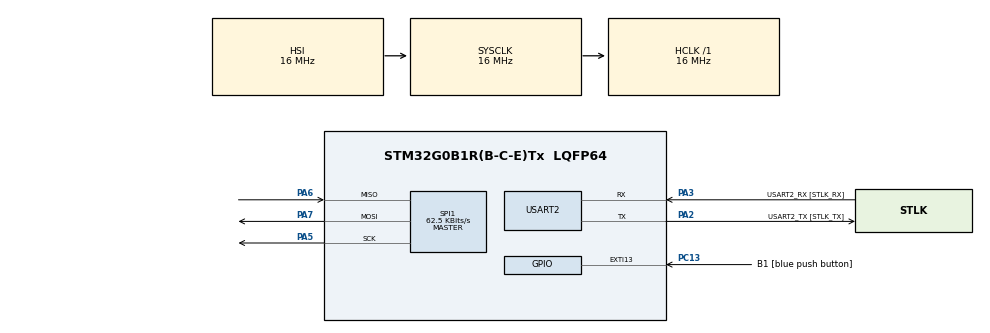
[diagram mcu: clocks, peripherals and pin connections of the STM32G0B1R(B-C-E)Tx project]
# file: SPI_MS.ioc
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Mcu.Family=STM32G0
Mcu.Name=STM32G0B1R(B-C-E)Tx
Mcu.Package=LQFP64
PA13.GPIO_Label=TMS
PA13.Mode=Serial_Wire
PA13.Signal=SYS_SWDIO
PA14-BOOT0.GPIO_Label=TCK
PA14-BOOT0.Mode=Serial_Wire
PA14-BOOT0.Signal=SYS_SWCLK
PA2.GPIO_Label=USART2_TX [STLK_TX]
PA2.Mode=Asynchronous
PA2.Signal=USART2_TX
PA3.GPIO_Label=USART2_RX [STLK_RX]
PA3.Mode=Asynchronous
PA3.Signal=USART2_RX
PA4.Signal=SPI1_NSS
PA5.Mode=Full_Duplex_Master
PA5.Signal=SPI1_SCK
PA6.Mode=Full_Duplex_Master
PA6.Signal=SPI1_MISO
PA7.Mode=Full_Duplex_Master
PA7.Signal=SPI1_MOSI
PC13.GPIO_Label=B1 [blue push button]
PC13.Signal=GPXTI13
PC14-OSC32_IN\ (PC14).Mode=LSE-External-Oscillator
PC14-OSC32_IN\ (PC14).Signal=RCC_OSC32_IN
PC15-OSC32_OUT\ (PC15).Mode=LSE-External-Oscillator
PC15-OSC32_OUT\ (PC15).Signal=RCC_OSC32_OUT
PF0-OSC_IN\ (PF0).GPIO_Label=MCO
PF0-OSC_IN\ (PF0).Mode=HSE-External-Clock-Source
PF0-OSC_IN\ (PF0).Signal=RCC_OSC_IN
ProjectManager.HeapSize=0x200
ProjectManager.StackSize=0x400
ProjectManager.TargetToolchain=STM32CubeIDE
RCC.AHBFreq_Value=16000000
RCC.CortexFreq_Value=16000000
RCC.EXTERNAL_CLOCK_VALUE=12288000
RCC.HCLKFreq_Value=16000000
RCC.HSE_VALUE=8000000
RCC.HSI48_VALUE=48000000
RCC.HSI_VALUE=16000000
RCC.SYSCLKFreq_VALUE=16000000
RCC.USBFreq_Value=48000000
RCC.VCOOutputFreq_Value=128000000
SPI1.BaudRatePrescaler=SPI_BAUDRATEPRESCALER_256
SPI1.CalculateBaudRate=62.5 KBits/s
SPI1.DataSize=SPI_DATASIZE_8BIT
SPI1.Direction=SPI_DIRECTION_2LINES
SPI1.Mode=SPI_MODE_MASTER
SPI1.VirtualType=VM_MASTER
USART2.VirtualMode-Asynchronous=VM_ASYNC
VP_SYS_VS_DBSignals.Mode=DisableDeadBatterySignals
board=NUCLEO-G0B1RE

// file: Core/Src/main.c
/* USER CODE BEGIN Header */
/**
  ******************************************************************************
  * @file           : main.c
  * @brief          : Main program body
  ******************************************************************************
  * @attention
  *
  * Copyright (c) 2025 STMicroelectronics.
  * All rights reserved.
  *
  * This software is licensed under terms that can be found in the LICENSE file
  * in the root directory of this software component.
  * If no LICENSE file comes with this software, it is provided AS-IS.
  *
  ******************************************************************************
  */
/* USER CODE END Header */
#include "main.h"
#include <string.h>
#include <stdio.h>

SPI_HandleTypeDef hspi1;

UART_HandleTypeDef huart2;

void SystemClock_Config(void);
static void MX_GPIO_Init(void);
static void MX_SPI1_Init(void);
static void MX_USART2_UART_Init(void);

/* USER CODE BEGIN 0 */
void SPI_Loopback_Test(void)
{
  uint8_t test_pattern[] = {0xAA, 0x55, 0x01, 0x80, 0xFF, 0x00};
  uint8_t received_data[sizeof(test_pattern)] = {0};
  char message[100];  // Increased buffer size

  // Perform transmission
  HAL_GPIO_WritePin(GPIOA, GPIO_PIN_4, GPIO_PIN_RESET);  // CS low
  HAL_Delay(1);  // Small delay for CS settle

  if(HAL_SPI_TransmitReceive(&hspi1, test_pattern, received_data, sizeof(test_pattern), 100) != HAL_OK)
  {
    HAL_GPIO_WritePin(GPIOA, GPIO_PIN_4, GPIO_PIN_SET);  // Ensure CS high on error
    HAL_UART_Transmit(&huart2, (uint8_t*)"SPI Error!\r\n", 11, HAL_MAX_DELAY);
    return;
  }

  HAL_GPIO_WritePin(GPIOA, GPIO_PIN_4, GPIO_PIN_SET);  // CS high
  HAL_Delay(1);

  // Verify results
  int match = memcmp(test_pattern, received_data, sizeof(test_pattern));

  snprintf(message, sizeof(message), "\r\nTest %s\r\n", match ? "FAILED" : "PASSED");
  HAL_UART_Transmit(&huart2, (uint8_t*)message, strlen(message), HAL_MAX_DELAY);

  if(match)
  {
    // Print details if failed
    snprintf(message, sizeof(message), "S: ");

    for(int i = 0; i < sizeof(test_pattern); i++) {

      char byte[4];
      snprintf(byte, sizeof(byte), "%02X ", test_pattern[i]);
      strncat(message, byte, sizeof(message)-strlen(message)-1);
    }

    strncat(message, "\r\nR: ", sizeof(message)-strlen(message)-1);
    HAL_UART_Transmit(&huart2, (uint8_t*)message, strlen(message), HAL_MAX_DELAY);

    memset(message, 0, sizeof(message));

    for(int i = 0; i < sizeof(received_data); i++) {
      char byte[4];
      snprintf(byte, sizeof(byte), "%02X ", received_data[i]);
      strncat(message, byte, sizeof(message)-strlen(message)-1);
    }

    strncat(message, "\r\n", 3);
    HAL_UART_Transmit(&huart2, (uint8_t*)message, strlen(message), HAL_MAX_DELAY);
  }
  else {

	  snprintf(message, sizeof(message), "S: ");

	      for(int i = 0; i < sizeof(test_pattern); i++) {

	        char byte[4];
	        snprintf(byte, sizeof(byte), "%02X ", test_pattern[i]);
	        strncat(message, byte, sizeof(message)-strlen(message)-1);
	      }

	      strncat(message, "\r\nR: ", sizeof(message)-strlen(message)-1);
	      HAL_UART_Transmit(&huart2, (uint8_t*)message, strlen(message), HAL_MAX_DELAY);

	      memset(message, 0, sizeof(message));

	      for(int i = 0; i < sizeof(received_data); i++) {
	        char byte[4];
	        snprintf(byte, sizeof(byte), "%02X ", received_data[i]);
	        strncat(message, byte, sizeof(message)-strlen(message)-1);
	      }

	      strncat(message, "\r\n", 3);
	      HAL_UART_Transmit(&huart2, (uint8_t*)message, strlen(message), HAL_MAX_DELAY);
  }
}
/* USER CODE END 0 */

int main(void)
{

  /* MCU Configuration--------------------------------------------------------*/

  /* Reset of all peripherals, Initializes the Flash interface and the Systick. */
  HAL_Init();

  /* Configure the system clock */
  SystemClock_Config();

  /* Initialize all configured peripherals */
  MX_GPIO_Init();
  MX_SPI1_Init();
  MX_USART2_UART_Init();

  /* Infinite loop */
  while (1)
  {
	  SPI_Loopback_Test();
	  HAL_Delay(1000);
  }
}

void SystemClock_Config(void)
{
  RCC_OscInitTypeDef RCC_OscInitStruct = {0};
  RCC_ClkInitTypeDef RCC_ClkInitStruct = {0};

  /** Configure the main internal regulator output voltage
  */
  HAL_PWREx_ControlVoltageScaling(PWR_REGULATOR_VOLTAGE_SCALE1);

  /** Initializes the RCC Oscillators according to the specified parameters
  * in the RCC_OscInitTypeDef structure.
  */
  RCC_OscInitStruct.OscillatorType = RCC_OSCILLATORTYPE_HSI;
  RCC_OscInitStruct.HSIState = RCC_HSI_ON;
  RCC_OscInitStruct.HSIDiv = RCC_HSI_DIV1;
  RCC_OscInitStruct.HSICalibrationValue = RCC_HSICALIBRATION_DEFAULT;
  RCC_OscInitStruct.PLL.PLLState = RCC_PLL_NONE;
  if (HAL_RCC_OscConfig(&RCC_OscInitStruct) != HAL_OK)
  {
    Error_Handler();
  }

  /** Initializes the CPU, AHB and APB buses clocks
  */
  RCC_ClkInitStruct.ClockType = RCC_CLOCKTYPE_HCLK|RCC_CLOCKTYPE_SYSCLK
                              |RCC_CLOCKTYPE_PCLK1;
  RCC_ClkInitStruct.SYSCLKSource = RCC_SYSCLKSOURCE_HSI;
  RCC_ClkInitStruct.AHBCLKDivider = RCC_SYSCLK_DIV1;
  RCC_ClkInitStruct.APB1CLKDivider = RCC_HCLK_DIV1;

  if (HAL_RCC_ClockConfig(&RCC_ClkInitStruct, FLASH_LATENCY_0) != HAL_OK)
  {
    Error_Handler();
  }
}

static void MX_SPI1_Init(void)
{

  /* SPI1 parameter configuration*/
  hspi1.Instance = SPI1;
  hspi1.Init.Mode = SPI_MODE_MASTER;
  hspi1.Init.Direction = SPI_DIRECTION_2LINES;
  hspi1.Init.DataSize = SPI_DATASIZE_8BIT;
  hspi1.Init.CLKPolarity = SPI_POLARITY_LOW;
  hspi1.Init.CLKPhase = SPI_PHASE_1EDGE;
  hspi1.Init.NSS = SPI_NSS_SOFT;
  hspi1.Init.BaudRatePrescaler = SPI_BAUDRATEPRESCALER_256;
  hspi1.Init.FirstBit = SPI_FIRSTBIT_MSB;
  hspi1.Init.TIMode = SPI_TIMODE_DISABLE;
  hspi1.Init.CRCCalculation = SPI_CRCCALCULATION_DISABLE;
  hspi1.Init.CRCPolynomial = 7;
  hspi1.Init.CRCLength = SPI_CRC_LENGTH_DATASIZE;
  hspi1.Init.NSSPMode = SPI_NSS_PULSE_ENABLE;
  if (HAL_SPI_Init(&hspi1) != HAL_OK)
  {
    Error_Handler();
  }

}

static void MX_USART2_UART_Init(void)
{

  huart2.Instance = USART2;
  huart2.Init.BaudRate = 115200;
  huart2.Init.WordLength = UART_WORDLENGTH_8B;
  huart2.Init.StopBits = UART_STOPBITS_1;
  huart2.Init.Parity = UART_PARITY_NONE;
  huart2.Init.Mode = UART_MODE_TX_RX;
  huart2.Init.HwFlowCtl = UART_HWCONTROL_NONE;
  huart2.Init.OverSampling = UART_OVERSAMPLING_16;
  huart2.Init.OneBitSampling = UART_ONE_BIT_SAMPLE_DISABLE;
  huart2.Init.ClockPrescaler = UART_PRESCALER_DIV1;
  huart2.AdvancedInit.AdvFeatureInit = UART_ADVFEATURE_NO_INIT;
  if (HAL_UART_Init(&huart2) != HAL_OK)
  {
    Error_Handler();
  }
  if (HAL_UARTEx_SetTxFifoThreshold(&huart2, UART_TXFIFO_THRESHOLD_1_8) != HAL_OK)
  {
    Error_Handler();
  }
  if (HAL_UARTEx_SetRxFifoThreshold(&huart2, UART_RXFIFO_THRESHOLD_1_8) != HAL_OK)
  {
    Error_Handler();
  }
  if (HAL_UARTEx_DisableFifoMode(&huart2) != HAL_OK)
  {
    Error_Handler();
  }

}

static void MX_GPIO_Init(void)
{
  GPIO_InitTypeDef GPIO_InitStruct = {0};

  /* GPIO Ports Clock Enable */
  __HAL_RCC_GPIOC_CLK_ENABLE();
  __HAL_RCC_GPIOF_CLK_ENABLE();
  __HAL_RCC_GPIOA_CLK_ENABLE();

  /*Configure GPIO pin : B1_Pin */
  GPIO_InitStruct.Pin = B1_Pin;
  GPIO_InitStruct.Mode = GPIO_MODE_IT_RISING;
  GPIO_InitStruct.Pull = GPIO_NOPULL;
  HAL_GPIO_Init(B1_GPIO_Port, &GPIO_InitStruct);

}

void Error_Handler(void)
{
  __disable_irq();
  while (1)
  {
  }
}
